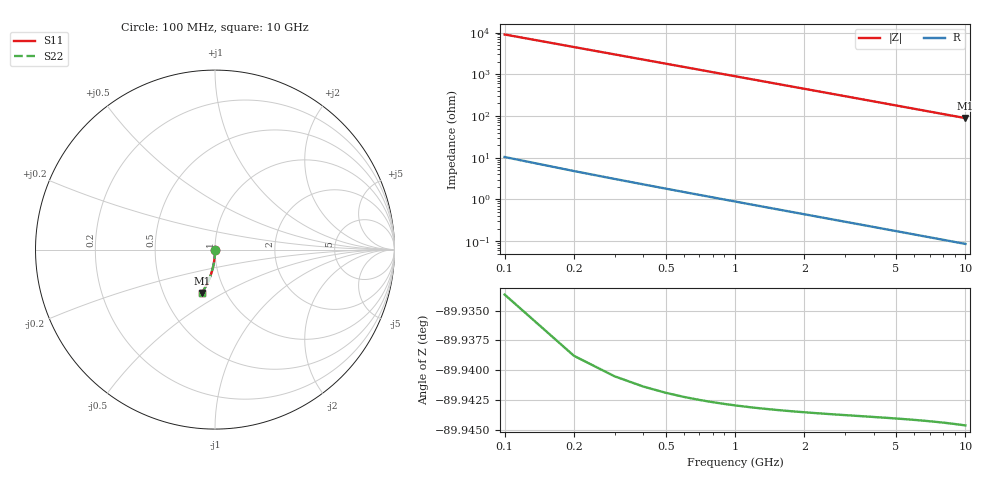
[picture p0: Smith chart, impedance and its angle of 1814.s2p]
# Hz S RI R 50.00
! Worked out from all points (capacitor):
!   100 points, 100 MHz to 10 GHz, reference 50 ohm
!   read as one part in shunt: C = 177 fF near 100 MHz
!   lowest |Z| = 88.9 ohm at 10 GHz (marker M1)
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1e8  5.07e-05 -0.00259  0.9999 -0.00298  0.9999 -0.00298  5.07e-05 -0.00259
2e8  2.52e-05 -0.00518  0.9999 -0.00597  0.9999 -0.00597  2.52e-05 -0.00518
3e8  -1.59e-05 -0.00777  0.9999 -0.00895  0.9999 -0.00895  -1.59e-05 -0.00777
4e8  -7.24e-05 -0.0104  0.9998 -0.0119  0.9998 -0.0119  -7.24e-05 -0.0104
5e8  -0.000145 -0.0129  0.9997 -0.0149  0.9997 -0.0149  -0.000145 -0.0129
6e8  -0.000232 -0.0155  0.9996 -0.0179  0.9996 -0.0179  -0.000232 -0.0155
7e8  -0.000335 -0.0181  0.9995 -0.0209  0.9995 -0.0209  -0.000335 -0.0181
8e8  -0.000454 -0.0207  0.9994 -0.0239  0.9994 -0.0239  -0.000454 -0.0207
9e8  -0.000588 -0.0233  0.9993 -0.0269  0.9993 -0.0269  -0.000588 -0.0233
1.1e9  -0.000902 -0.0285  0.999 -0.0328  0.999 -0.0328  -0.000902 -0.0285
1.4e9  -0.00149 -0.0362  0.9984 -0.0418  0.9984 -0.0418  -0.00149 -0.0362
1.8e9  -0.00249 -0.0465  0.9974 -0.0537  0.9974 -0.0537  -0.00249 -0.0465
2.1e9  -0.0034 -0.0543  0.9964 -0.0626  0.9964 -0.0626  -0.0034 -0.0543
2.5e9  -0.00483 -0.0645  0.995 -0.0744  0.995 -0.0744  -0.00483 -0.0645
2.9e9  -0.0065 -0.0748  0.9933 -0.0862  0.9933 -0.0862  -0.0065 -0.0748
3.4e9  -0.00894 -0.0875  0.9908 -0.101  0.9908 -0.101  -0.00894 -0.0875
4.2e9  -0.0136 -0.1076  0.9861 -0.1243  0.9861 -0.1243  -0.0136 -0.1076
5.1e9  -0.02 -0.13  0.9797 -0.1503  0.9797 -0.1503  -0.02 -0.13
5.9e9  -0.0267 -0.1494  0.9729 -0.1729  0.9729 -0.1729  -0.0267 -0.1494
6.7e9  -0.0342 -0.1685  0.9653 -0.1952  0.9653 -0.1952  -0.0342 -0.1685
8.4e9  -0.053 -0.2074  0.9463 -0.241  0.9463 -0.241  -0.053 -0.2074
1e10  -0.0738 -0.2416  0.9253 -0.2818  0.9253 -0.2818  -0.0738 -0.2416
